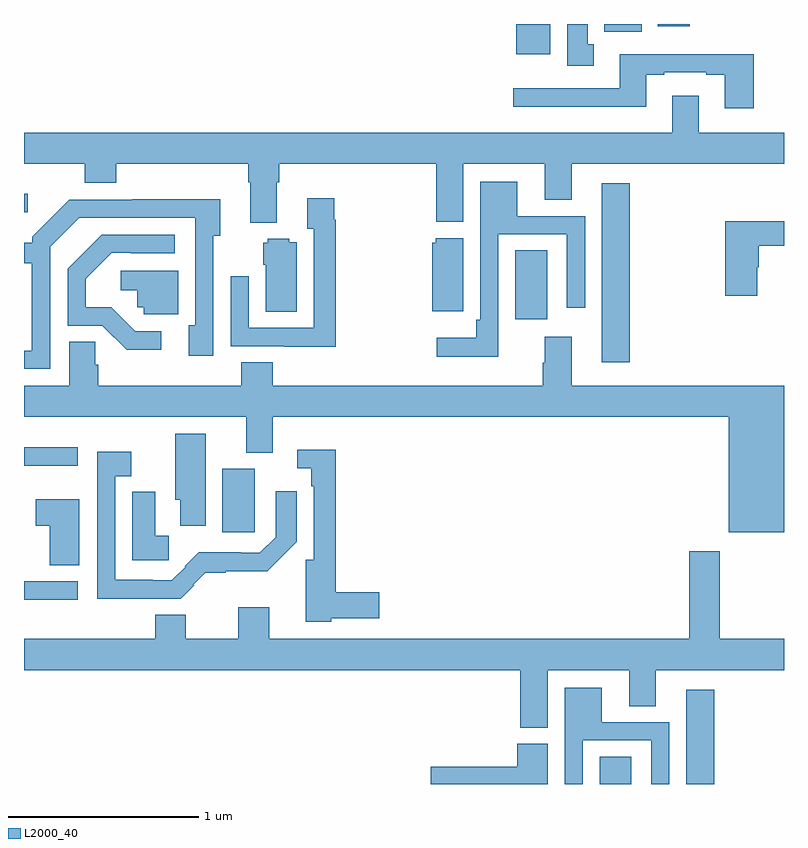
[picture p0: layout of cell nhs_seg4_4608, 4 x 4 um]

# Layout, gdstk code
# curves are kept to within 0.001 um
import gdstk
lib = gdstk.Library(unit=1e-6, precision=1e-09)
def R(c, l, rs):  # rectangles x0, y0, x1, y1
    for r in rs: c.add(gdstk.rectangle(r[:2], r[2:], *l))
def P(c, l, *ps):  # polygons
    for p in ps: c.add(gdstk.Polygon(p, *l))
L2000_40 = (2000, 40)

nhs_seg4_4608 = lib.new_cell('nhs_seg4_4608')
R(nhs_seg4_4608, L2000_40, [(362.03,782.9,362.197,783.044), (362.486,782.9,362.633,783.397), (359,783.87,359.284,783.966), (360.044,784.224,360.214,784.558), (359,784.574,359.284,784.672), (362.042,785.121,362.189,786.061), (361.586,785.346,361.753,785.708), (359,785.909,359.02,786.007), (361.592,786.74,361.771,786.9), (362.054,786.86,362.251,786.9), (362.336,786.888,362.503,786.9)])
P(nhs_seg4_4608, L2000_40, [(361.999,786.794),(361.966,786.794),(361.966,786.9),(361.859,786.9),(361.859,786.681),(361.999,786.681)],
  [(362.84,786.742),(362.135,786.742),(362.135,786.561),(361.575,786.561),(361.575,786.464),(362.275,786.464),(362.275,786.633),(362.371,786.633),(362.371,786.645),(362.591,786.645),(362.591,786.633),(362.687,786.633),(362.687,786.456),(362.84,786.456)],
  [(360.331,786.068),(360.344,786.068),(360.344,786.164),(361.169,786.164),(361.169,785.858),(361.312,785.858),(361.312,786.164),(361.742,786.164),(361.742,785.974),(361.882,785.974),(361.882,786.164),(363,786.164),(363,786.328),(362.551,786.328),(362.551,786.523),(362.411,786.523),(362.411,786.328),(359,786.328),(359,786.164),(359.321,786.164),(359.321,786.065),(359.486,786.065),(359.486,786.164),(360.179,786.164),(360.179,786.068),(360.191,786.068),(360.191,785.855),(360.331,785.855)],
  [(361.497,785.793),(361.857,785.793),(361.857,785.406),(361.953,785.406),(361.953,785.889),(361.597,785.889),(361.597,786.07),(361.401,786.07),(361.401,785.344),(361.381,785.344),(361.381,785.248),(361.173,785.248),(361.173,785.15),(361.497,785.15)],
  [(360.641,785.87),(360.634,785.87),(360.634,785.983),(360.491,785.983),(360.491,785.822),(360.525,785.822),(360.525,785.301),(360.183,785.301),(360.183,785.572),(360.087,785.572),(360.087,785.205),(360.371,785.205),(360.371,785.201),(360.641,785.201)],
  [(359.139,785.727),(359.292,785.88),(359.901,785.88),(359.901,785.314),(359.867,785.314),(359.867,785.154),(359.997,785.154),(359.997,785.786),(360.034,785.786),(360.034,785.978),(359.569,785.978),(359.569,785.976),(359.238,785.976),(359.043,785.781),(359.043,785.749),(359,785.749),(359,785.64),(359.042,785.64),(359.042,785.181),(359,785.181),(359,785.085),(359.139,785.085)],
  [(362.86,785.619),(362.868,785.619),(362.868,785.734),(363,785.734),(363,785.863),(362.69,785.863),(362.69,785.469),(362.86,785.469)],
  [(359.722,785.283),(359.586,785.283),(359.459,785.41),(359.326,785.41),(359.326,785.56),(359.463,785.697),(359.563,785.697),(359.563,785.694),(359.794,785.694),(359.794,785.79),(359.408,785.79),(359.229,785.611),(359.229,785.313),(359.412,785.313),(359.54,785.186),(359.722,785.186)],
  [(361.312,785.773),(361.167,785.773),(361.167,785.748),(361.148,785.748),(361.148,785.387),(361.312,785.387)],
  [(360.436,785.752),(360.396,785.752),(360.396,785.77),(360.282,785.77),(360.282,785.748),(360.26,785.748),(360.26,785.634),(360.272,785.634),(360.272,785.386),(360.436,785.386)],
  [(359.812,785.601),(359.508,785.601),(359.508,785.498),(359.595,785.498),(359.595,785.409),(359.631,785.409),(359.631,785.373),(359.812,785.373)],
  [(363,784.996),(361.882,784.996),(361.882,785.254),(361.742,785.254),(361.742,785.117),(361.73,785.117),(361.73,784.996),(360.308,784.996),(360.308,785.12),(360.143,785.12),(360.143,784.996),(359.39,784.996),(359.39,785.106),(359.375,785.106),(359.375,785.228),(359.237,785.228),(359.237,784.996),(359,784.996),(359,784.832),(360.17,784.832),(360.17,784.643),(360.31,784.643),(360.31,784.832),(362.708,784.832),(362.708,784.226),(363,784.226)],
  [(359.956,784.744),(359.795,784.744),(359.795,784.395),(359.822,784.395),(359.822,784.26),(359.956,784.26)],
  [(360.618,783.773),(360.871,783.773),(360.871,783.908),(360.641,783.908),(360.641,784.66),(360.438,784.66),(360.438,784.563),(360.513,784.563),(360.513,784.466),(360.525,784.466),(360.525,784.08),(360.482,784.08),(360.482,783.755),(360.618,783.755)],
  [(359.895,783.945),(359.891,783.949),(359.953,784.011),(360.061,784.011),(360.061,784.019),(360.281,784.019),(360.436,784.176),(360.436,784.441),(360.324,784.441),(360.324,784.2),(360.24,784.116),(360.14,784.116),(360.14,784.121),(359.921,784.121),(359.847,784.047),(359.85,784.044),(359.778,783.972),(359.678,783.972),(359.678,783.976),(359.481,783.976),(359.481,784.52),(359.564,784.52),(359.564,784.648),(359.385,784.648),(359.385,783.875),(359.825,783.875)],
  [(359.761,784.207),(359.692,784.207),(359.692,784.439),(359.57,784.439),(359.57,784.078),(359.761,784.078)],
  [(359.29,784.399),(359.062,784.399),(359.062,784.259),(359.135,784.259),(359.135,784.051),(359.29,784.051)],
  [(361.756,783.5),(362.186,783.5),(362.186,783.31),(362.326,783.31),(362.326,783.5),(363,783.5),(363,783.664),(362.661,783.664),(362.661,784.126),(362.501,784.126),(362.501,783.664),(360.292,783.664),(360.292,783.829),(360.128,783.829),(360.128,783.664),(359.851,783.664),(359.851,783.79),(359.69,783.79),(359.69,783.664),(359,783.664),(359,783.5),(361.613,783.5),(361.613,783.196),(361.756,783.196)],
  [(361.941,783.129),(362.301,783.129),(362.301,782.9),(362.397,782.9),(362.397,783.225),(362.041,783.225),(362.041,783.406),(361.845,783.406),(361.845,782.9),(361.941,782.9)],
  [(361.756,783.111),(361.595,783.111),(361.595,782.99),(361.14,782.99),(361.14,782.9),(361.756,782.9)])

lib.write_gds('nhs_seg4_4608.gds')
